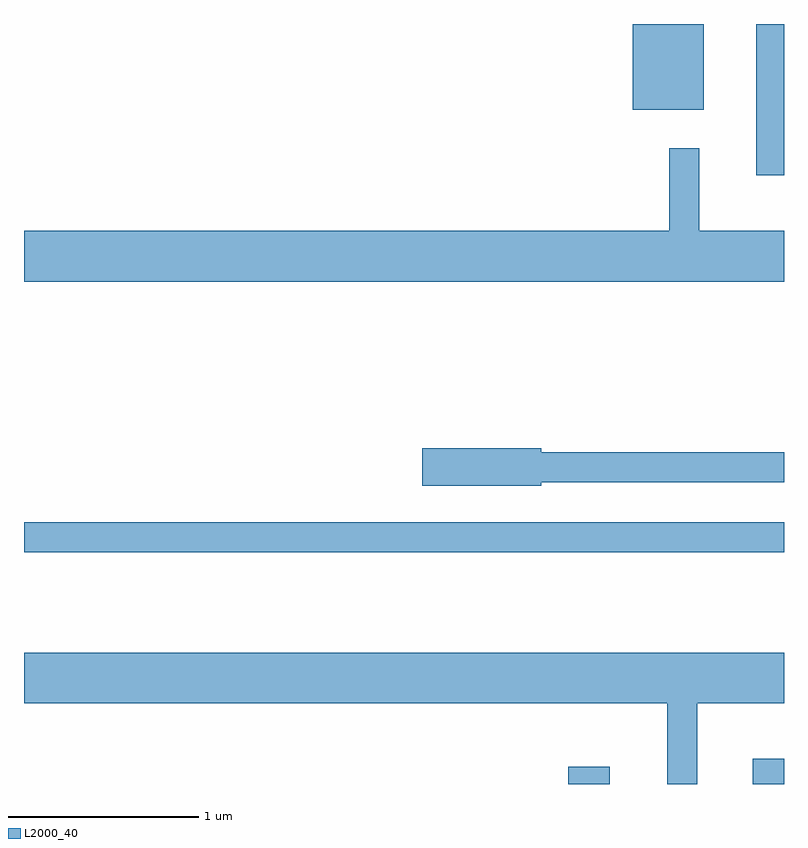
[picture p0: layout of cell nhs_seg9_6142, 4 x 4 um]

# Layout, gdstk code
import gdstk
lib = gdstk.Library(unit=1e-6, precision=1e-09)
def R(c, l, rs):  # rectangles x0, y0, x1, y1
    for r in rs: c.add(gdstk.rectangle(r[:2], r[2:], *l))
def P(c, l, *ps):  # polygons
    for p in ps: c.add(gdstk.Polygon(p, *l))
L2000_40 = (2000, 40)

nhs_seg9_6142 = lib.new_cell('nhs_seg9_6142')
R(nhs_seg9_6142, L2000_40, [(368.476,2062.432,368.694,2062.524), (369.446,2062.432,369.611,2062.564), (365.611,2063.651,369.611,2063.809), (369.466,2065.636,369.611,2066.432), (368.816,2065.981,369.189,2066.432)])
P(nhs_seg9_6142, L2000_40, [(369.611,2065.344),(369.164,2065.344),(369.164,2065.778),(369.006,2065.778),(369.006,2065.344),(365.611,2065.344),(365.611,2065.076),(369.611,2065.076)],
  [(368.334,2064.021),(369.611,2064.021),(369.611,2064.179),(368.334,2064.179),(368.334,2064.199),(367.706,2064.199),(367.706,2064.001),(368.334,2064.001)],
  [(369.154,2062.856),(369.611,2062.856),(369.611,2063.124),(365.611,2063.124),(365.611,2062.856),(368.996,2062.856),(368.996,2062.432),(369.154,2062.432)])

lib.write_gds('nhs_seg9_6142.gds')
